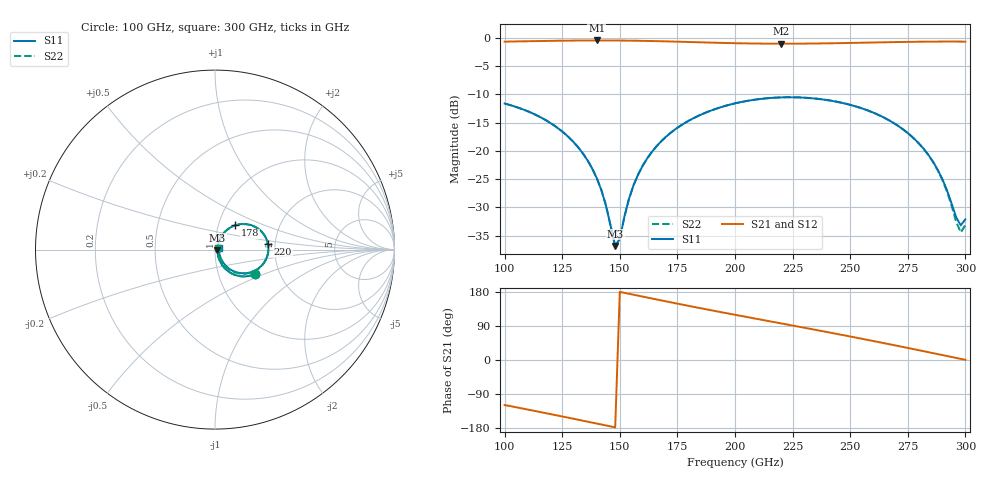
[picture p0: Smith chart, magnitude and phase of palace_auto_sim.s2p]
#  GHZ S DB R 50
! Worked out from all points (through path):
!   101 points, 100 GHz to 300 GHz, reference 50 ohm
!   highest |S21| = -0.49 dB at 140 GHz (marker M1); lowest = -1.1 dB at 220 GHz (marker M2)
!   group delay of S21, straight-line fit = 3.31 ps
!   lowest |S11| = -36.8 dB at 148 GHz (marker M3), VSWR 1.03, Z = 51.4 - j0.386 ohm
!   |S11| at or under -10 dB: start of sweep to end of sweep
!   |S22| runs from -36.9 to -10.5 dB; largest |S21 - S12| = 1e-13
!   S11 on the Smith chart (normalised r, x): 100 GHz: 1.50, -0.44; 178 GHz: 1.20, +0.33; 220 GHz: 1.83, +0.12; 300 GHz: 1.04, +0.02
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100  -11.64 -31.0  -0.69 -118.8  -0.69 -118.8  -11.64 -31.2
120  -15.11 -52.4  -0.56 -142.9  -0.56 -142.9  -15.11 -52.6
134  -20.47 -65.0  -0.49 -160.2  -0.49 -160.2  -20.46 -65.3
140  -24.82 -66.6  -0.49 -167.7  -0.49 -167.7  -24.82 -66.9
144  -29.66 -60.3  -0.49 -172.7  -0.49 -172.7  -29.66 -60.7
148  -36.82 -15.1  -0.50 -177.8  -0.50 -177.8  -36.85 -15.7
150  -35.52 31.1  -0.50 179.7  -0.50 179.7  -35.57 30.8
154  -28.46 61.1  -0.52 174.7  -0.52 174.7  -28.47 60.9
158  -24.14 65.0  -0.54 169.7  -0.54 169.7  -24.15 64.8
168  -18.30 59.8  -0.63 157.3  -0.63 157.3  -18.30 59.5
178  -15.13 50.4  -0.73 145.1  -0.73 145.1  -15.13 50.1
200  -11.61 27.6  -0.97 119.3  -0.97 119.3  -11.61 27.2
220  -10.55 6.0  -1.05 96.6  -1.05 96.6  -10.55 5.5
234  -10.73 -9.2  -1.03 80.6  -1.03 80.6  -10.72 -9.8
252  -12.10 -28.6  -0.91 59.7  -0.91 59.7  -12.10 -29.4
268  -14.87 -45.2  -0.78 40.4  -0.78 40.4  -14.87 -46.4
276  -17.20 -52.5  -0.73 30.6  -0.73 30.6  -17.21 -54.0
284  -20.75 -57.4  -0.70 20.6  -0.70 20.6  -20.78 -59.6
290  -25.00 -55.5  -0.68 13.0  -0.68 13.0  -25.13 -58.8
296  -31.75 -27.8  -0.68 5.5  -0.68 5.5  -32.55 -32.5
298  -33.18 -0.8  -0.68 2.9  -0.68 2.9  -34.42 -2.3
300  -32.11 27.5  -0.69 0.4  -0.69 0.4  -33.10 30.1
